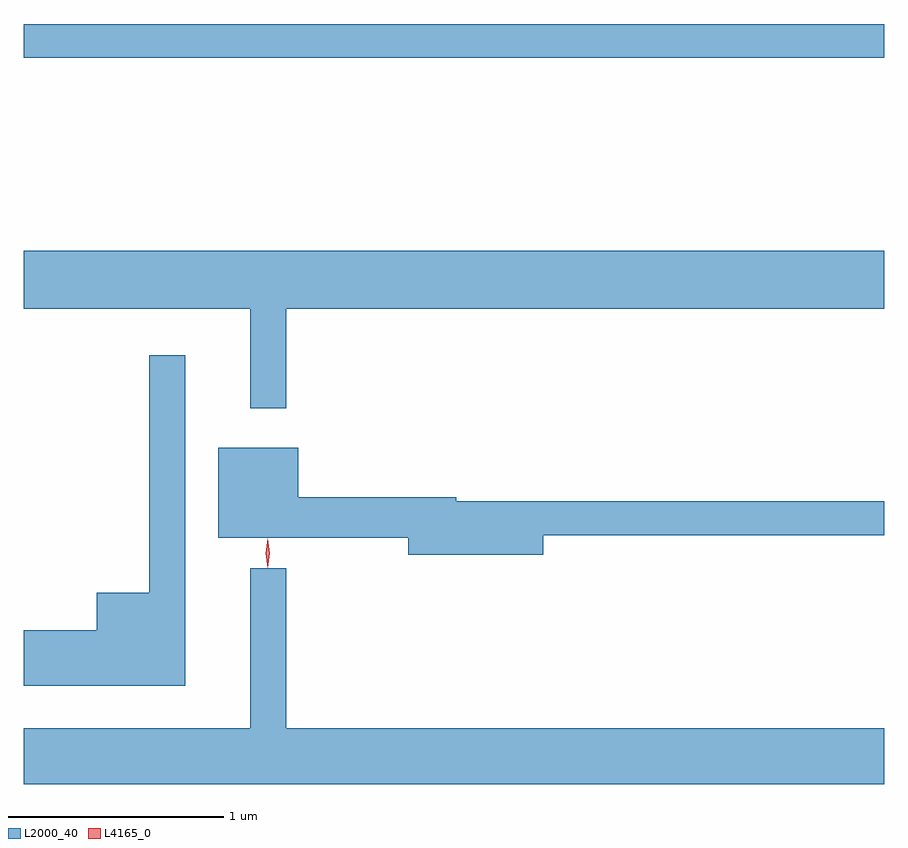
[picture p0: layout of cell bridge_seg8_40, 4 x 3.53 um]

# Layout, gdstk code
import gdstk
lib = gdstk.Library(unit=1e-6, precision=1e-09)
def R(c, l, rs):  # rectangles x0, y0, x1, y1
    for r in rs: c.add(gdstk.rectangle(r[:2], r[2:], *l))
def P(c, l, *ps):  # polygons
    for p in ps: c.add(gdstk.Polygon(p, *l))
L2000_40 = (2000, 40)
L4165_0 = (4165, 0)

bridge_seg8_40 = lib.new_cell('bridge_seg8_40')
R(bridge_seg8_40, L2000_40, [(1609.118,1881.981,1613.118,1882.139)])
P(bridge_seg8_40, L2000_40, [(1610.339,1880.816),(1613.118,1880.816),(1613.118,1881.084),(1609.118,1881.084),(1609.118,1880.816),(1610.171,1880.816),(1610.171,1880.353),(1610.339,1880.353)],
  [(1609.869,1880.598),(1609.701,1880.598),(1609.701,1879.494),(1609.456,1879.494),(1609.456,1879.319),(1609.118,1879.319),(1609.118,1879.061),(1609.869,1879.061)],
  [(1611.534,1879.761),(1613.118,1879.761),(1613.118,1879.919),(1611.129,1879.919),(1611.129,1879.939),(1610.394,1879.939),(1610.394,1880.169),(1610.021,1880.169),(1610.021,1879.751),(1610.906,1879.751),(1610.906,1879.671),(1611.534,1879.671)],
  [(1613.118,1878.864),(1610.339,1878.864),(1610.339,1879.608),(1610.171,1879.608),(1610.171,1878.864),(1609.118,1878.864),(1609.118,1878.605),(1613.118,1878.605)])
P(bridge_seg8_40, L4165_0, [(1610.252,1879.613),(1610.242,1879.677),(1610.252,1879.741),(1610.252,1879.741),(1610.252,1879.741),(1610.262,1879.677),(1610.253,1879.613),(1610.253,1879.613)],
  [(1610.252,1879.61),(1610.242,1879.678),(1610.252,1879.746),(1610.252,1879.746),(1610.252,1879.746),(1610.262,1879.678),(1610.253,1879.61),(1610.253,1879.61)])

lib.write_gds('bridge_seg8_40.gds')
